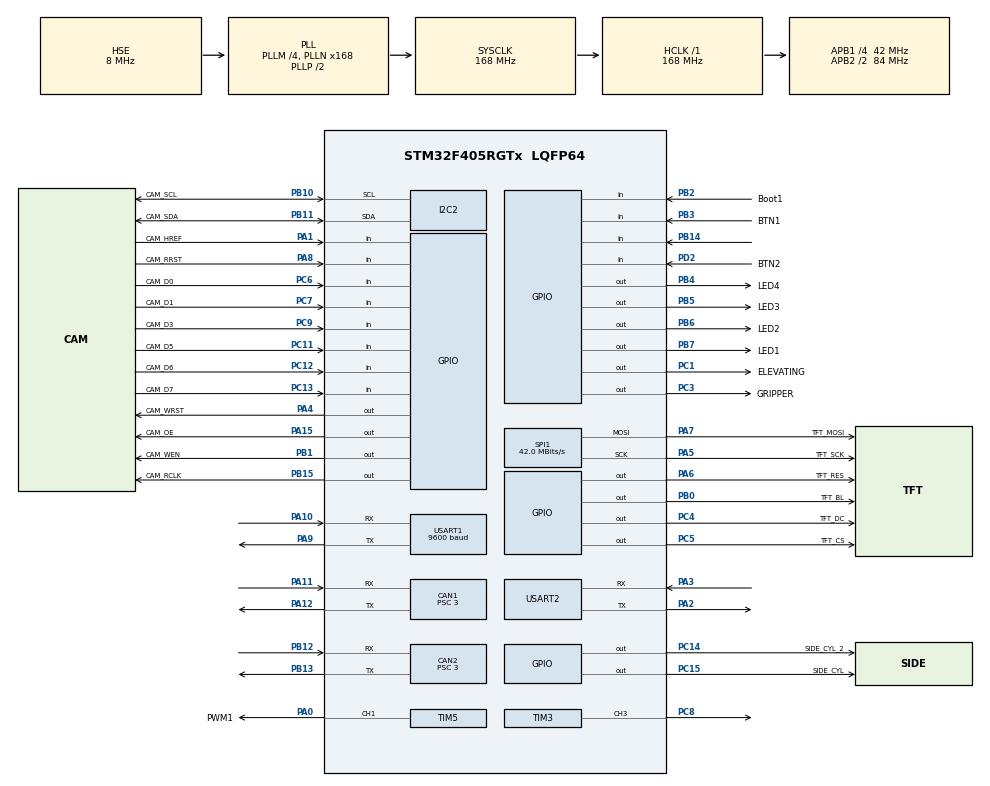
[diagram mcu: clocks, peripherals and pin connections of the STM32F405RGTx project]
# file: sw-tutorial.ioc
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CAN1.BS1=CAN_BS1_10TQ
CAN1.BS2=CAN_BS2_3TQ
CAN1.CalculateBaudRate=1000000
CAN1.CalculateTimeBit=1000
CAN1.CalculateTimeQuantum=71.42857142857143
CAN1.Prescaler=3
CAN2.BS1=CAN_BS1_10TQ
CAN2.BS2=CAN_BS2_3TQ
CAN2.CalculateBaudRate=1000000
CAN2.CalculateTimeBit=1000
CAN2.CalculateTimeQuantum=71.42857142857143
CAN2.Prescaler=3
Dma.Request0=SPI1_TX
Dma.SPI1_TX.0.Direction=DMA_MEMORY_TO_PERIPH
Dma.SPI1_TX.0.FIFOMode=DMA_FIFOMODE_ENABLE
Dma.SPI1_TX.0.FIFOThreshold=DMA_FIFO_THRESHOLD_FULL
Dma.SPI1_TX.0.Instance=DMA2_Stream3
Dma.SPI1_TX.0.MemBurst=DMA_MBURST_INC16
Dma.SPI1_TX.0.MemDataAlignment=DMA_MDATAALIGN_BYTE
Dma.SPI1_TX.0.MemInc=DMA_MINC_ENABLE
Dma.SPI1_TX.0.Mode=DMA_NORMAL
Dma.SPI1_TX.0.PeriphBurst=DMA_PBURST_SINGLE
Dma.SPI1_TX.0.PeriphDataAlignment=DMA_PDATAALIGN_BYTE
Dma.SPI1_TX.0.PeriphInc=DMA_PINC_DISABLE
Dma.SPI1_TX.0.Priority=DMA_PRIORITY_LOW
Mcu.Family=STM32F4
Mcu.Name=STM32F405RGTx
Mcu.Package=LQFP64
NVIC.DMA2_Stream3_IRQn=true\:0\:0\:false\:false\:true\:false\:true\:true
NVIC.PriorityGroup=NVIC_PRIORITYGROUP_4
NVIC.SPI1_IRQn=true\:0\:0\:false\:false\:true\:true\:true\:true
NVIC.TIM3_IRQn=true\:0\:0\:false\:false\:true\:true\:true\:true
NVIC.TIM5_IRQn=true\:0\:0\:false\:false\:true\:true\:true\:true
NVIC.USART1_IRQn=true\:0\:0\:false\:false\:true\:true\:true\:true
NVIC.USART2_IRQn=true\:0\:0\:false\:false\:true\:true\:true\:true
PA0-WKUP.GPIO_Label=PWM1
PA0-WKUP.Signal=S_TIM5_CH1
PA1.GPIO_Label=CAM_HREF
PA1.Signal=GPIO_Input
PA10.Mode=Asynchronous
PA10.Signal=USART1_RX
PA11.Mode=CAN_Activate
PA11.Signal=CAN1_RX
PA12.Mode=CAN_Activate
PA12.Signal=CAN1_TX
PA13.Mode=Serial_Wire
PA13.Signal=SYS_JTMS-SWDIO
PA14.Mode=Serial_Wire
PA14.Signal=SYS_JTCK-SWCLK
PA15.GPIO_Label=CAM_OE
PA15.Signal=GPIO_Output
PA2.Mode=Asynchronous
PA2.Signal=USART2_TX
PA3.Mode=Asynchronous
PA3.Signal=USART2_RX
PA4.GPIO_Label=CAM_WRST
PA4.Signal=GPIO_Output
PA5.GPIO_Label=TFT_SCK
PA5.Mode=TX_Only_Simplex_Unidirect_Master
PA5.Signal=SPI1_SCK
PA6.GPIO_Label=TFT_RES
PA6.Signal=GPIO_Output
PA7.GPIO_Label=TFT_MOSI
PA7.Mode=TX_Only_Simplex_Unidirect_Master
PA7.Signal=SPI1_MOSI
PA8.GPIO_Label=CAM_RRST
PA8.Signal=GPIO_Input
PA9.Mode=Asynchronous
PA9.Signal=USART1_TX
PB0.GPIO_Label=TFT_BL
PB0.Signal=GPIO_Output
PB1.GPIO_Label=CAM_WEN
PB1.Signal=GPIO_Output
PB10.GPIO_Label=CAM_SCL
PB10.Mode=I2C
PB10.Signal=I2C2_SCL
PB11.GPIO_Label=CAM_SDA
PB11.Mode=I2C
PB11.Signal=I2C2_SDA
PB12.Mode=CAN_Activate
PB12.Signal=CAN2_RX
PB13.Mode=CAN_Activate
PB13.Signal=CAN2_TX
PB14.Signal=GPIO_Input
PB15.GPIO_Label=CAM_RCLK
PB15.Signal=GPIO_Output
PB2.GPIO_Label=Boot1
PB2.Signal=GPIO_Input
PB3.GPIO_Label=BTN1
PB3.GPIO_PuPd=GPIO_PULLUP
PB3.Signal=GPIO_Input
PB4.GPIO_Label=LED4
PB4.Signal=GPIO_Output
PB5.GPIO_Label=LED3
PB5.Signal=GPIO_Output
PB6.GPIO_Label=LED2
PB6.Signal=GPIO_Output
PB7.GPIO_Label=LED1
PB7.Signal=GPIO_Output
PC1.GPIO_Label=ELEVATING
PC1.GPIO_ModeDefaultOutputPP=GPIO_MODE_OUTPUT_PP
PC1.GPIO_PuPd=GPIO_NOPULL
PC1.Signal=GPIO_Output
PC11.GPIO_Label=CAM_D5
PC11.Signal=GPIO_Input
PC12.GPIO_Label=CAM_D6
PC12.GPIO_PuPd=GPIO_NOPULL
PC12.Signal=GPIO_Input
PC13-ANTI_TAMP.GPIO_Label=CAM_D7
PC13-ANTI_TAMP.Signal=GPIO_Input
PC14-OSC32_IN.GPIO_Label=SIDE_CYL_2
PC14-OSC32_IN.Signal=GPIO_Output
PC15-OSC32_OUT.GPIO_Label=SIDE_CYL
PC15-OSC32_OUT.Signal=GPIO_Output
PC3.GPIO_Label=GRIPPER
PC3.GPIO_ModeDefaultOutputPP=GPIO_MODE_OUTPUT_PP
PC3.Signal=GPIO_Output
PC4.GPIO_Label=TFT_DC
PC4.Signal=GPIO_Output
PC5.GPIO_Label=TFT_CS
PC5.Signal=GPIO_Output
PC6.GPIO_Label=CAM_D0
PC6.Signal=GPIO_Input
PC7.GPIO_Label=CAM_D1
PC7.Signal=GPIO_Input
PC8.Signal=S_TIM3_CH3
PC9.GPIO_Label=CAM_D3
PC9.Signal=GPIO_Input
PD2.GPIO_Label=BTN2
PD2.GPIO_PuPd=GPIO_PULLUP
PD2.Signal=GPIO_Input
PH0-OSC_IN.Mode=HSE-External-Oscillator
PH0-OSC_IN.Signal=RCC_OSC_IN
PH1-OSC_OUT.Mode=HSE-External-Oscillator
PH1-OSC_OUT.Signal=RCC_OSC_OUT
ProjectManager.HeapSize=0x200
ProjectManager.StackSize=0x400
ProjectManager.TargetToolchain=STM32CubeIDE
RCC.48MHZClocksFreq_Value=84000000
RCC.AHBFreq_Value=168000000
RCC.APB1CLKDivider=RCC_HCLK_DIV4
RCC.APB1Freq_Value=42000000
RCC.APB1TimFreq_Value=84000000
RCC.APB2CLKDivider=RCC_HCLK_DIV2
RCC.APB2Freq_Value=84000000
RCC.APB2TimFreq_Value=168000000
RCC.CortexFreq_Value=168000000
RCC.HCLKFreq_Value=168000000
RCC.HSE_VALUE=8000000
RCC.HSI_VALUE=16000000
RCC.LSE_VALUE=32768
RCC.PLLM=4
RCC.PLLN=168
RCC.PLLSourceVirtual=RCC_PLLSOURCE_HSE
RCC.SYSCLKFreq_VALUE=168000000
RCC.SYSCLKSource=RCC_SYSCLKSOURCE_PLLCLK
RCC.VCOOutputFreq_Value=336000000
SH.S_TIM3_CH3.0=TIM3_CH3,PWM Generation3 CH3
SH.S_TIM5_CH1.0=TIM5_CH1,PWM Generation1 CH1
SPI1.CalculateBaudRate=42.0 MBits/s
SPI1.Direction=SPI_DIRECTION_2LINES
SPI1.Mode=SPI_MODE_MASTER
SPI1.VirtualType=VM_MASTER
TIM3.Channel-PWM\ Generation3\ CH3=TIM_CHANNEL_3
TIM5.Channel-PWM\ Generation1\ CH1=TIM_CHANNEL_1
TIM5.OC1Preload_PWM=ENABLE
TIM5.Period=0
USART1.BaudRate=9600
USART1.VirtualMode=VM_ASYNC
USART2.VirtualMode=VM_ASYNC
VP_TIM3_VS_ClockSourceINT.Mode=Internal
VP_TIM5_VS_ClockSourceINT.Mode=Internal
board=custom

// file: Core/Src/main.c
/* USER CODE BEGIN Header */
/**
 ******************************************************************************
 * @file           : main.c
 * @brief          : Main program body
 ******************************************************************************
 * @attention
 *
 * Copyright (c) 2022 STMicroelectronics.
 * All rights reserved.
 *
 * This software is licensed under terms that can be found in the LICENSE file
 * in the root directory of this software component.
 * If no LICENSE file comes with this software, it is provided AS-IS.
 *
 ******************************************************************************
 */
/* USER CODE END Header */
#include "main.h"
#include "can.h"
#include "dma.h"
#include "i2c.h"
#include "spi.h"
#include "tim.h"
#include "usart.h"
#include "gpio.h"

/* USER CODE BEGIN Includes */
#include "string.h"
#include "pwm.h"
#include "lcd/lcd.h"
/* USER CODE END Includes */

void SystemClock_Config(void);

int main(void)
{
  /* USER CODE BEGIN 1 */
    MX_GPIO_Init();
    MX_CAN1_Init();
    MX_CAN2_Init();
    MX_USART1_UART_Init();
    MX_DMA_Init();
    MX_USART2_UART_Init();
    MX_TIM5_Init();
  /* USER CODE END 1 */

  /* MCU Configuration--------------------------------------------------------*/

  /* Reset of all peripherals, Initializes the Flash interface and the Systick. */
  HAL_Init();

  /* Configure the system clock */
  SystemClock_Config();

  /* Initialize all configured peripherals */
  MX_GPIO_Init();
  MX_CAN1_Init();
  MX_CAN2_Init();
  MX_SPI1_Init();
  MX_USART1_UART_Init();
  MX_I2C2_Init();
  MX_DMA_Init();
  MX_USART2_UART_Init();
  MX_TIM5_Init();
  MX_TIM3_Init();
  /* USER CODE BEGIN 2 */
    volatile uint32_t last_ticks = 0;
    volatile uint32_t last_ticks_inc = 0;

    // we turn off all the led & cylinder first
    led_off(LED1);
    led_off(LED2);
    led_off(LED3);
    led_off(LED4);
    gpio_reset(GRIPPER);
    gpio_reset(ELEVATING);
    gpio_reset(SIDE_CYL);
    tft_init(PIN_ON_TOP, BLACK, WHITE, YELLOW, DARK_GREEN);
    HAL_GPIO_WritePin(GPIOC, GPIO_PIN_3, GPIO_PIN_SET);
    pwm_init();

    tft_force_clear();
	can_init();

	// pre-define constant
	const Motor motorchoice[] = {CAN1_MOTOR0, CAN1_MOTOR1, CAN1_MOTOR2, CAN1_MOTOR3};
	const char pid_text[6][20] = {"kp-up", "kp-down", "ki-up", "ki-down", "kd-up", "kd-down"};
	const char Btn1_text[7][20] = {"Speed Increase", "Speed Decrease", "Speed Test", "Side CYL", "Gripper", "Elevator","Fast Track"};

	// Status of each Btn
	static int btn1_choice = 6;
	enum {kp_increase, kp_decrease, ki_increase, ki_decrease, kd_increase, kd_decrease} k_choice;
	static int target_vel[4] = {0,0,0,0};
	static int velocity = 500;

	//initialize
	k_choice = kp_increase;
	//init_fast_track(motorchoice, target_vel);
	PID_variable_init();
	Reset_dat_init();

	// Hold&click Variable
	static int Btn1_mode = 0;
	static int Btn2_mode = 0;
	static int Btn1_HoldTime = 0;
	static int Btn2_HoldTime = 0;
	static int deltatime = 0;
	static int last_cyl_time = 0;
	static int fast_track_time = 0;

	// varying constant
	static double kp = 9,
				kd = -0.0153,
				ki = 0.0003;

  /* USER CODE END 2 */

  /* Infinite loop */
  /* USER CODE BEGIN WHILE */

  while (1)
  {

	can_ctrl_loop();
	if (HAL_GetTick() - last_ticks >= 100) {
		led_toggle(LED1);
		last_ticks = HAL_GetTick();
	}
	testing(motorchoice);
	switch(Btn1_mode) {
		// listening
		case (0):
			if (!btn_read(BTN1)) {
				Btn1_mode++;
				Btn1_HoldTime = HAL_GetTick();
			}
		break;
		// Holding
		case (1):
			if (HAL_GetTick() - Btn1_HoldTime < 500) {
				if (btn_read(BTN1)) Btn1_mode = 2;
			}
			else Btn1_mode = 3;
		break;
		//Clicking
		case (2):
			btn1_choice++; btn1_choice %= 7;
			Btn1_mode = 0;
		break;
		//Holding
		case (3):
			switch (btn1_choice) {
				case 0:
					if (HAL_GetTick() - deltatime > 100) {
						deltatime = HAL_GetTick();
						velocity += 50;
					}
				break;
				case 1:
					if (HAL_GetTick() - deltatime > 100) {
						deltatime = HAL_GetTick();
						velocity -= 50;
					}
				break;
				case 2:
					for (int i = 0; i < 4; i++) {
						target_vel[i] = velocity;
					}
				break;
				case 3:
					if (HAL_GetTick() - last_cyl_time > 1000) {
						last_cyl_time = HAL_GetTick();
						gpio_toggle(SIDE_CYL);
					}
				break;
				case 4:
					if (HAL_GetTick() - last_cyl_time > 1000) {
						last_cyl_time = HAL_GetTick();
						gpio_toggle(GRIPPER);
					}
				break;
				case 5:
					if (HAL_GetTick() - last_cyl_time > 1000) {
						last_cyl_time = HAL_GetTick();
						gpio_toggle(ELEVATING);
					}
				break;
				case 6:
					Btn1_mode = 4;
					fast_track_time = HAL_GetTick();
				break;
			}
			if (btn_read(BTN1)) {
				for (int i = 0; i < 4; i++) {
					target_vel[i] = 0;
				}
				Btn1_mode = 0;
			}
		break;

		case (4):
			last_cyl_time = HAL_GetTick();

			for (int i = 0; i < 4; i++) {
				target_vel[i] = 2000;
			}

			if (HAL_GetTick() - fast_track_time > 4500) {
				for (int i = 0; i < 4; i++) {
					target_vel[i] = 0;
				}
				Btn1_mode = 0;
			}
		break;
	}
	switch(Btn2_mode) {
		// listening
		case (0):
			if (!btn_read(BTN2)) {
				Btn2_mode++;
				Btn2_HoldTime = HAL_GetTick();
			}
		break;
		// Holding
		case (1):
			if (HAL_GetTick() - Btn2_HoldTime < 500) {
				if (btn_read(BTN2)) Btn2_mode = 2;
			}
			else Btn2_mode = 3;
		break;
		//Clicking
		case (2):
			k_choice++; k_choice %= 6;
			Btn2_mode = 0;
		break;
		//Holding
		case (3):
			if (btn_read(BTN2)) Btn2_mode = 0;
			if (HAL_GetTick() - last_ticks_inc >= 100) {
				switch (k_choice) {
					case (kp_increase):
						kp *= 1.1;
					break;
					case (kp_decrease):
						kp *= 0.9;
					break;
					case (ki_increase):
						ki *= 1.1;
					break;
					case (ki_decrease):
						ki *= 0.9;
					break;
					case (kd_increase):
						kd *= 1.1;
					break;
					case (kd_decrease):
						kd *= 0.9;
					break;
				}
				last_ticks_inc = HAL_GetTick();
			}
			tft_prints(0, 7, "%0.5f", kp);
			tft_prints(0, 8, "%0.5f", ki);
			tft_prints(0, 9, "%0.5f", kd);
		break;
	}

	ReceiveData(target_vel);

	if(!isAutoTrack) fast_track_time = HAL_GetTick();
	if(isAutoTrack){
		tft_prints(0, 5, "Autotracking");
		autotrack(fast_track_time);
	}

	for (int i = 0; i < 4; i++ ) {
		set_motor_speed(motorchoice[i], target_vel[i], kp, ki, kd, motorchoice);
		//set_motor_current(motorchoice[i], 700);

	}

	tft_prints(0, 0, "time: %d", (int) HAL_GetTick());
	tft_prints(0, 1, "%s     ", Btn1_text[btn1_choice]);
	tft_prints(0, 2, "%s %d", pid_text[k_choice], velocity);
	tft_prints(0, 3, "tar: %d %d ", target_vel[0], target_vel[1]);
	tft_prints(0, 4, "tar: %d %d ", target_vel[2], target_vel[3]);
	tft_update(100);
	SendData(motorchoice);

    /* USER CODE END WHILE */

    }
}

void SystemClock_Config(void)
{
  RCC_OscInitTypeDef RCC_OscInitStruct = {0};
  RCC_ClkInitTypeDef RCC_ClkInitStruct = {0};

  /** Configure the main internal regulator output voltage
  */
  __HAL_RCC_PWR_CLK_ENABLE();
  __HAL_PWR_VOLTAGESCALING_CONFIG(PWR_REGULATOR_VOLTAGE_SCALE1);

  /** Initializes the RCC Oscillators according to the specified parameters
  * in the RCC_OscInitTypeDef structure.
  */
  RCC_OscInitStruct.OscillatorType = RCC_OSCILLATORTYPE_HSE;
  RCC_OscInitStruct.HSEState = RCC_HSE_ON;
  RCC_OscInitStruct.PLL.PLLState = RCC_PLL_ON;
  RCC_OscInitStruct.PLL.PLLSource = RCC_PLLSOURCE_HSE;
  RCC_OscInitStruct.PLL.PLLM = 4;
  RCC_OscInitStruct.PLL.PLLN = 168;
  RCC_OscInitStruct.PLL.PLLP = RCC_PLLP_DIV2;
  RCC_OscInitStruct.PLL.PLLQ = 4;
  if (HAL_RCC_OscConfig(&RCC_OscInitStruct) != HAL_OK)
  {
    Error_Handler();
  }

  /** Initializes the CPU, AHB and APB buses clocks
  */
  RCC_ClkInitStruct.ClockType = RCC_CLOCKTYPE_HCLK|RCC_CLOCKTYPE_SYSCLK
                              |RCC_CLOCKTYPE_PCLK1|RCC_CLOCKTYPE_PCLK2;
  RCC_ClkInitStruct.SYSCLKSource = RCC_SYSCLKSOURCE_PLLCLK;
  RCC_ClkInitStruct.AHBCLKDivider = RCC_SYSCLK_DIV1;
  RCC_ClkInitStruct.APB1CLKDivider = RCC_HCLK_DIV4;
  RCC_ClkInitStruct.APB2CLKDivider = RCC_HCLK_DIV2;

  if (HAL_RCC_ClockConfig(&RCC_ClkInitStruct, FLASH_LATENCY_5) != HAL_OK)
  {
    Error_Handler();
  }
}

void Error_Handler(void)
{
    __disable_irq();
    while (1) {
    }
}
